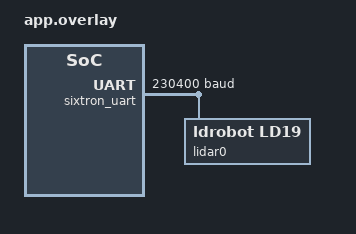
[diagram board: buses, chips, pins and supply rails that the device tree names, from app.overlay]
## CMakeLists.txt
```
# Copyright (c) 2024 CATIE
# SPDX-License-Identifier: Apache-2.0

cmake_minimum_required(VERSION 3.20.0)
find_package(Zephyr REQUIRED HINTS $ENV{ZEPHYR_BASE})
project(ld19)

FILE(GLOB app_sources src/main.c)
target_sources(app PRIVATE ${app_sources})
```

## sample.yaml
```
sample:
  name: LD19 Lidar sensor sample
tests:
  sample.default:
    tags: lidar
    integration_platforms:
      - zest_core_stm32l4a6rg
    depends_on: uart
```

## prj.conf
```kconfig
CONFIG_STDOUT_CONSOLE=y
CONFIG_SENSOR=y
CONFIG_LD19_TRIGGER_GLOBAL_THREAD=y
```

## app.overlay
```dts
/*
 * Copyright (c) 2025 CATIE
 *
 * SPDX-License-Identifier: Apache-2.0
 */

&sixtron_uart {
	status = "okay";
	current-speed = <230400>;
  	lidar0: lidar_0 {
		compatible = "ldrobot,ld19";
	};
};
```

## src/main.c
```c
/*
 * Copyright (c) 2024, CATIE
 * SPDX-License-Identifier: Apache-2.0
 */

#include <zephyr/kernel.h>
#include <zephyr/device.h>
#include <zephyr/drivers/sensor.h>

int main(void)
{
	const struct device *const dev = DEVICE_DT_GET_ANY(ldrobot_ld19);
	struct sensor_value value;

	if (!device_is_ready(dev)) {
		printk("Device %s is not ready\n", dev->name);
		return 1;
	}

	while (1) {
		sensor_sample_fetch(dev);
		// Example for ambiant temperature sensor
		sensor_channel_get(dev, SENSOR_CHAN_AMBIENT_TEMP, &value);
		printk("Value: %d.%06d\n", value.val1, value.val2);
		k_sleep(K_MSEC(1000));
	}
}
```
